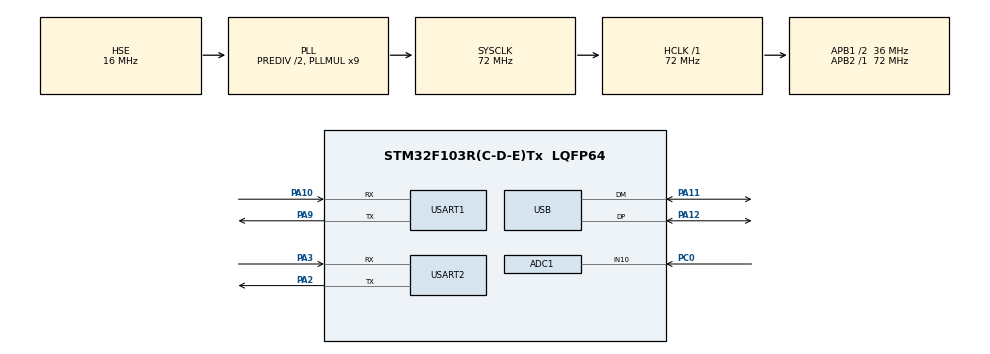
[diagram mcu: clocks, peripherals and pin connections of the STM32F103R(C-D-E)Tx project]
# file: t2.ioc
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ADC1.Channel-0\#ChannelRegularConversion=ADC_CHANNEL_10
ADC1.ContinuousConvMode=DISABLE
ADC1.DataAlign=ADC_DATAALIGN_RIGHT
ADC1.DiscontinuousConvMode=DISABLE
ADC1.EnableAnalogWatchDog=false
ADC1.EnableRegularConversion=ENABLE
ADC1.ExternalTrigConv=ADC_SOFTWARE_START
ADC1.InjNumberOfConversion=0
ADC1.NbrOfConversion=1
ADC1.NbrOfConversionFlag=1
ADC1.Rank-0\#ChannelRegularConversion=1
ADC1.SamplingTime-0\#ChannelRegularConversion=ADC_SAMPLETIME_1CYCLE_5
ADC1.ScanConvMode=ADC_SCAN_DISABLE
ADC1.master=1
Dma.ADC1.0.Direction=DMA_PERIPH_TO_MEMORY
Dma.ADC1.0.Instance=DMA1_Channel1
Dma.ADC1.0.MemDataAlignment=DMA_MDATAALIGN_HALFWORD
Dma.ADC1.0.MemInc=DMA_MINC_ENABLE
Dma.ADC1.0.Mode=DMA_NORMAL
Dma.ADC1.0.PeriphDataAlignment=DMA_PDATAALIGN_HALFWORD
Dma.ADC1.0.PeriphInc=DMA_PINC_DISABLE
Dma.ADC1.0.Priority=DMA_PRIORITY_LOW
Dma.Request0=ADC1
Dma.Request1=USART2_RX
Dma.Request2=USART2_TX
Dma.Request3=USART1_RX
Dma.Request4=USART1_TX
Dma.USART1_RX.3.Direction=DMA_PERIPH_TO_MEMORY
Dma.USART1_RX.3.Instance=DMA1_Channel5
Dma.USART1_RX.3.MemDataAlignment=DMA_MDATAALIGN_BYTE
Dma.USART1_RX.3.MemInc=DMA_MINC_ENABLE
Dma.USART1_RX.3.Mode=DMA_NORMAL
Dma.USART1_RX.3.PeriphDataAlignment=DMA_PDATAALIGN_BYTE
Dma.USART1_RX.3.PeriphInc=DMA_PINC_DISABLE
Dma.USART1_RX.3.Priority=DMA_PRIORITY_LOW
Dma.USART1_TX.4.Direction=DMA_MEMORY_TO_PERIPH
Dma.USART1_TX.4.Instance=DMA1_Channel4
Dma.USART1_TX.4.MemDataAlignment=DMA_MDATAALIGN_BYTE
Dma.USART1_TX.4.MemInc=DMA_MINC_ENABLE
Dma.USART1_TX.4.Mode=DMA_NORMAL
Dma.USART1_TX.4.PeriphDataAlignment=DMA_PDATAALIGN_BYTE
Dma.USART1_TX.4.PeriphInc=DMA_PINC_DISABLE
Dma.USART1_TX.4.Priority=DMA_PRIORITY_LOW
Dma.USART2_RX.1.Direction=DMA_PERIPH_TO_MEMORY
Dma.USART2_RX.1.Instance=DMA1_Channel6
Dma.USART2_RX.1.MemDataAlignment=DMA_MDATAALIGN_BYTE
Dma.USART2_RX.1.MemInc=DMA_MINC_ENABLE
Dma.USART2_RX.1.Mode=DMA_NORMAL
Dma.USART2_RX.1.PeriphDataAlignment=DMA_PDATAALIGN_BYTE
Dma.USART2_RX.1.PeriphInc=DMA_PINC_DISABLE
Dma.USART2_RX.1.Priority=DMA_PRIORITY_LOW
Dma.USART2_TX.2.Direction=DMA_MEMORY_TO_PERIPH
Dma.USART2_TX.2.Instance=DMA1_Channel7
Dma.USART2_TX.2.MemDataAlignment=DMA_MDATAALIGN_BYTE
Dma.USART2_TX.2.MemInc=DMA_MINC_ENABLE
Dma.USART2_TX.2.Mode=DMA_NORMAL
Dma.USART2_TX.2.PeriphDataAlignment=DMA_PDATAALIGN_BYTE
Dma.USART2_TX.2.PeriphInc=DMA_PINC_DISABLE
Dma.USART2_TX.2.Priority=DMA_PRIORITY_LOW
Mcu.Family=STM32F1
Mcu.Name=STM32F103R(C-D-E)Tx
Mcu.Package=LQFP64
NVIC.ADC1_2_IRQn=true\:0\:0\:false\:false\:true\:true
NVIC.DMA1_Channel1_IRQn=true\:0\:0\:false\:false\:true\:false
NVIC.DMA1_Channel4_IRQn=true\:0\:0\:false\:false\:true\:false
NVIC.DMA1_Channel5_IRQn=true\:0\:0\:false\:false\:true\:false
NVIC.DMA1_Channel6_IRQn=true\:0\:0\:false\:false\:true\:false
NVIC.DMA1_Channel7_IRQn=true\:0\:0\:false\:false\:true\:false
NVIC.PriorityGroup=NVIC_PRIORITYGROUP_4
NVIC.TIM1_UP_IRQn=true\:0\:0\:false\:false\:true\:true
NVIC.USART1_IRQn=true\:0\:0\:false\:false\:true\:true
NVIC.USART2_IRQn=true\:0\:0\:false\:false\:true\:true
NVIC.USB_LP_CAN1_RX0_IRQn=true\:0\:0\:false\:false\:true\:false
PA10.Mode=Asynchronous
PA10.Signal=USART1_RX
PA11.Mode=Device
PA11.Signal=USB_DM
PA12.Mode=Device
PA12.Signal=USB_DP
PA2.Mode=Asynchronous
PA2.Signal=USART2_TX
PA3.Mode=Asynchronous
PA3.Signal=USART2_RX
PA9.Mode=Asynchronous
PA9.Signal=USART1_TX
PC0.Signal=ADCx_IN10
PD0-OSC_IN.Mode=HSE-External-Oscillator
PD0-OSC_IN.Signal=RCC_OSC_IN
PD1-OSC_OUT.Mode=HSE-External-Oscillator
PD1-OSC_OUT.Signal=RCC_OSC_OUT
ProjectManager.HeapSize=0xc00
ProjectManager.StackSize=0xc00
ProjectManager.TargetToolchain=MDK-ARM V5
RCC.ADCPresc=RCC_ADCPCLK2_DIV6
RCC.AHBFreq_Value=72000000
RCC.APB1CLKDivider=RCC_HCLK_DIV2
RCC.APB1Freq_Value=36000000
RCC.APB1TimFreq_Value=72000000
RCC.APB2Freq_Value=72000000
RCC.APB2TimFreq_Value=72000000
RCC.HCLKFreq_Value=72000000
RCC.HSEDivPLL=RCC_HSE_PREDIV_DIV2
RCC.HSE_VALUE=16000000
RCC.PLLMUL=RCC_PLL_MUL9
RCC.SYSCLKFreq_VALUE=72000000
RCC.SYSCLKSource=RCC_SYSCLKSOURCE_PLLCLK
RCC.USBFreq_Value=48000000
RCC.USBPrescaler=RCC_USBCLKSOURCE_PLL_DIV1_5
SH.ADCx_IN10.0=ADC1_IN10,IN10
TIM1.Period=10
TIM1.Prescaler=7199
USART1.VirtualMode=VM_ASYNC
USART2.VirtualMode=VM_ASYNC
USB_DEVICE.CLASS_NAME_FS=CDC
USB_DEVICE.USBD_MAX_NUM_INTERFACES=4
USB_DEVICE.VirtualMode=Cdc
USB_DEVICE.VirtualModeFS=Cdc_FS
VP_SYS_VS_ND.Mode=No_Debug
VP_TIM1_VS_ClockSourceINT.Mode=Internal
VP_USB_DEVICE_VS_USB_DEVICE_CDC_FS.Mode=CDC_FS
board=t2

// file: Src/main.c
/**
  ******************************************************************************
  * File Name          : main.c
  * Description        : Main program body
  ******************************************************************************
  * This notice applies to any and all portions of this file
  * that are not between comment pairs USER CODE BEGIN and
  * USER CODE END. Other portions of this file, whether
  * inserted by the user or by software development tools
  * are owned by their respective copyright owners.
  *
  * Copyright (c) 2017 STMicroelectronics International N.V.
  * All rights reserved.
  *
  * Redistribution and use in source and binary forms, with or without
  * modification, are permitted, provided that the following conditions are met:
  *
  * 1. Redistribution of source code must retain the above copyright notice,
  *    this list of conditions and the following disclaimer.
  * 2. Redistributions in binary form must reproduce the above copyright notice,
  *    this list of conditions and the following disclaimer in the documentation
  *    and/or other materials provided with the distribution.
  * 3. Neither the name of STMicroelectronics nor the names of other
  *    contributors to this software may be used to endorse or promote products
  *    derived from this software without specific written permission.
  * 4. This software, including modifications and/or derivative works of this
  *    software, must execute solely and exclusively on microcontroller or
  *    microprocessor devices manufactured by or for STMicroelectronics.
  * 5. Redistribution and use of this software other than as permitted under
  *    this license is void and will automatically terminate your rights under
  *    this license.
  *
  * THIS SOFTWARE IS PROVIDED BY STMICROELECTRONICS AND CONTRIBUTORS "AS IS"
  * AND ANY EXPRESS, IMPLIED OR STATUTORY WARRANTIES, INCLUDING, BUT NOT
  * LIMITED TO, THE IMPLIED WARRANTIES OF MERCHANTABILITY, FITNESS FOR A
  * PARTICULAR PURPOSE AND NON-INFRINGEMENT OF THIRD PARTY INTELLECTUAL PROPERTY
  * RIGHTS ARE DISCLAIMED TO THE FULLEST EXTENT PERMITTED BY LAW. IN NO EVENT
  * SHALL STMICROELECTRONICS OR CONTRIBUTORS BE LIABLE FOR ANY DIRECT, INDIRECT,
  * INCIDENTAL, SPECIAL, EXEMPLARY, OR CONSEQUENTIAL DAMAGES (INCLUDING, BUT NOT
  * LIMITED TO, PROCUREMENT OF SUBSTITUTE GOODS OR SERVICES; LOSS OF USE, DATA,
  * OR PROFITS; OR BUSINESS INTERRUPTION) HOWEVER CAUSED AND ON ANY THEORY OF
  * LIABILITY, WHETHER IN CONTRACT, STRICT LIABILITY, OR TORT (INCLUDING
  * NEGLIGENCE OR OTHERWISE) ARISING IN ANY WAY OUT OF THE USE OF THIS SOFTWARE,
  * EVEN IF ADVISED OF THE POSSIBILITY OF SUCH DAMAGE.
  *
  ******************************************************************************
  */
#include "main.h"
#include "stm32f1xx_hal.h"
#include "usb_device.h"
#include "usbd_cdc_if.h"

ADC_HandleTypeDef hadc1;
DMA_HandleTypeDef hdma_adc1;

TIM_HandleTypeDef htim1;

UART_HandleTypeDef huart1;
UART_HandleTypeDef huart2;
DMA_HandleTypeDef hdma_usart1_rx;
DMA_HandleTypeDef hdma_usart1_tx;
DMA_HandleTypeDef hdma_usart2_rx;
DMA_HandleTypeDef hdma_usart2_tx;

/* USER CODE BEGIN PV */
/* Private variables ---------------------------------------------------------*/

/* USER CODE END PV */

void SystemClock_Config(void);
static void MX_GPIO_Init(void);
static void MX_DMA_Init(void);
static void MX_USART1_UART_Init(void);
static void MX_USART2_UART_Init(void);
static void MX_TIM1_Init(void);
static void MX_ADC1_Init(void);

/* USER CODE BEGIN PFP */
/* Private function prototypes -----------------------------------------------*/

/* USER CODE END PFP */

//预留flash的最后一页用作配置空间
typedef struct
{
    uint32_t   bootflag;
}user_cfg;

#define FLASH_ADDRESS_START  0x8000000

void readusercfg(uint8_t *pdata, uint32_t len)
{
  uint32_t i = 0;
  uint32_t flashsize = *((uint16_t *)FLASH_SIZE_DATA_REGISTER) * 1024;

  uint8_t *psrc = (uint8_t *)(FLASH_ADDRESS_START + flashsize - FLASH_PAGE_SIZE);

  for (i = 0; i < len; i++)
  {
    pdata[i] = *psrc++;
  }
}

void writeusercfg(uint8_t *pdata, uint32_t len)
{
  HAL_StatusTypeDef      status;
  FLASH_EraseInitTypeDef eraseinitstruct;
  uint32_t               page_error = 0;
  uint32_t               i = 0;

  uint32_t flashsize = *((uint16_t *)FLASH_SIZE_DATA_REGISTER) * 1024;
  uint32_t addr = FLASH_ADDRESS_START + flashsize - FLASH_PAGE_SIZE;

  HAL_FLASH_Unlock();

  eraseinitstruct.TypeErase = FLASH_TYPEERASE_PAGES;
  eraseinitstruct.PageAddress = addr;
  eraseinitstruct.NbPages = 1;
  status = HAL_FLASHEx_Erase(&eraseinitstruct, &page_error);
  if (status != HAL_OK)
  {
    printf("!! erase usercfg fail!! \r\n");
    HAL_FLASH_Lock();
    return;
  }

  for (i = 0; i < len; i += 4)
  {
    /* Device voltage range supposed to be [2.7V to 3.6V], the operation will
     * be done by byte */
    if (HAL_FLASH_Program (FLASH_TYPEPROGRAM_WORD, (uint32_t) (addr + i), *(uint32_t *) (pdata + i)) == HAL_OK)
    {
      /* Check the written value */
      if (*(uint32_t *) (pdata + i) != *(uint32_t *) (addr + i))
      {
        printf("!! check usercfg fail!! \r\n");
        HAL_FLASH_Lock();
        return;
      }
    }
    else
    {
      printf("!! write usercfg fail!! \r\n");
      HAL_FLASH_Lock();
      return;
    }
  }

  HAL_FLASH_Lock();
}

void set_boot_dfu()
{
    user_cfg usercfg;

    usercfg.bootflag = 0xFFFFFFFF;
    writeusercfg((uint8_t *)&usercfg, sizeof(usercfg));
}

int main(void)
{

  /* MCU Configuration----------------------------------------------------------*/

  /* Reset of all peripherals, Initializes the Flash interface and the Systick. */
  HAL_Init();

  /* Configure the system clock */
  SystemClock_Config();

  /* Initialize all configured peripherals */
  MX_GPIO_Init();
  MX_DMA_Init();
  MX_USART1_UART_Init();
  MX_USART2_UART_Init();
  MX_TIM1_Init();
  MX_ADC1_Init();
  MX_USB_DEVICE_Init();

  /* Infinite loop */
  /* USER CODE BEGIN WHILE */
  printf("[%s][%d]startup\r\n", __func__, __LINE__);

  while (1)
  {
  /* USER CODE END WHILE */

  }

}

/** System Clock Configuration
*/
void SystemClock_Config(void)
{

  RCC_OscInitTypeDef RCC_OscInitStruct;
  RCC_ClkInitTypeDef RCC_ClkInitStruct;
  RCC_PeriphCLKInitTypeDef PeriphClkInit;

    /**Initializes the CPU, AHB and APB busses clocks
    */
  RCC_OscInitStruct.OscillatorType = RCC_OSCILLATORTYPE_HSE;
  RCC_OscInitStruct.HSEState = RCC_HSE_ON;
  RCC_OscInitStruct.HSEPredivValue = RCC_HSE_PREDIV_DIV2;
  RCC_OscInitStruct.HSIState = RCC_HSI_ON;
  RCC_OscInitStruct.PLL.PLLState = RCC_PLL_ON;
  RCC_OscInitStruct.PLL.PLLSource = RCC_PLLSOURCE_HSE;
  RCC_OscInitStruct.PLL.PLLMUL = RCC_PLL_MUL9;
  if (HAL_RCC_OscConfig(&RCC_OscInitStruct) != HAL_OK)
  {
    _Error_Handler(__FILE__, __LINE__);
  }

    /**Initializes the CPU, AHB and APB busses clocks
    */
  RCC_ClkInitStruct.ClockType = RCC_CLOCKTYPE_HCLK|RCC_CLOCKTYPE_SYSCLK
                              |RCC_CLOCKTYPE_PCLK1|RCC_CLOCKTYPE_PCLK2;
  RCC_ClkInitStruct.SYSCLKSource = RCC_SYSCLKSOURCE_PLLCLK;
  RCC_ClkInitStruct.AHBCLKDivider = RCC_SYSCLK_DIV1;
  RCC_ClkInitStruct.APB1CLKDivider = RCC_HCLK_DIV2;
  RCC_ClkInitStruct.APB2CLKDivider = RCC_HCLK_DIV1;

  if (HAL_RCC_ClockConfig(&RCC_ClkInitStruct, FLASH_LATENCY_2) != HAL_OK)
  {
    _Error_Handler(__FILE__, __LINE__);
  }

  PeriphClkInit.PeriphClockSelection = RCC_PERIPHCLK_ADC|RCC_PERIPHCLK_USB;
  PeriphClkInit.AdcClockSelection = RCC_ADCPCLK2_DIV6;
  PeriphClkInit.UsbClockSelection = RCC_USBCLKSOURCE_PLL_DIV1_5;
  if (HAL_RCCEx_PeriphCLKConfig(&PeriphClkInit) != HAL_OK)
  {
    _Error_Handler(__FILE__, __LINE__);
  }

    /**Configure the Systick interrupt time
    */
  HAL_SYSTICK_Config(HAL_RCC_GetHCLKFreq()/1000);

    /**Configure the Systick
    */
  HAL_SYSTICK_CLKSourceConfig(SYSTICK_CLKSOURCE_HCLK);

  /* SysTick_IRQn interrupt configuration */
  HAL_NVIC_SetPriority(SysTick_IRQn, 0, 0);
}

/* ADC1 init function */
static void MX_ADC1_Init(void)
{

  ADC_ChannelConfTypeDef sConfig;

    /**Common config
    */
  hadc1.Instance = ADC1;
  hadc1.Init.ScanConvMode = ADC_SCAN_DISABLE;
  hadc1.Init.ContinuousConvMode = ENABLE;
  hadc1.Init.DiscontinuousConvMode = DISABLE;
  hadc1.Init.ExternalTrigConv = ADC_SOFTWARE_START;
  hadc1.Init.DataAlign = ADC_DATAALIGN_RIGHT;
  hadc1.Init.NbrOfConversion = 1;
  if (HAL_ADC_Init(&hadc1) != HAL_OK)
  {
    _Error_Handler(__FILE__, __LINE__);
  }

    /**Configure Regular Channel
    */
  sConfig.Channel = ADC_CHANNEL_TEMPSENSOR;
  sConfig.Rank = 1;
  sConfig.SamplingTime = ADC_SAMPLETIME_1CYCLE_5;
  if (HAL_ADC_ConfigChannel(&hadc1, &sConfig) != HAL_OK)
  {
    _Error_Handler(__FILE__, __LINE__);
  }

}

/* TIM1 init function */
static void MX_TIM1_Init(void)
{

  TIM_ClockConfigTypeDef sClockSourceConfig;
  TIM_MasterConfigTypeDef sMasterConfig;

  htim1.Instance = TIM1;
  htim1.Init.Prescaler = 7199;
  htim1.Init.CounterMode = TIM_COUNTERMODE_UP;
  htim1.Init.Period = 10;
  htim1.Init.ClockDivision = TIM_CLOCKDIVISION_DIV1;
  htim1.Init.RepetitionCounter = 0;
  htim1.Init.AutoReloadPreload = TIM_AUTORELOAD_PRELOAD_DISABLE;
  if (HAL_TIM_Base_Init(&htim1) != HAL_OK)
  {
    _Error_Handler(__FILE__, __LINE__);
  }

  sClockSourceConfig.ClockSource = TIM_CLOCKSOURCE_INTERNAL;
  if (HAL_TIM_ConfigClockSource(&htim1, &sClockSourceConfig) != HAL_OK)
  {
    _Error_Handler(__FILE__, __LINE__);
  }

  sMasterConfig.MasterOutputTrigger = TIM_TRGO_RESET;
  sMasterConfig.MasterSlaveMode = TIM_MASTERSLAVEMODE_DISABLE;
  if (HAL_TIMEx_MasterConfigSynchronization(&htim1, &sMasterConfig) != HAL_OK)
  {
    _Error_Handler(__FILE__, __LINE__);
  }

  if(HAL_TIM_Base_Start_IT(&htim1) != HAL_OK)
  {
    _Error_Handler(__FILE__, __LINE__);
  }
}

/* USART1 init function */
static void MX_USART1_UART_Init(void)
{

  huart1.Instance = USART1;
  huart1.Init.BaudRate = 115200;
  huart1.Init.WordLength = UART_WORDLENGTH_8B;
  huart1.Init.StopBits = UART_STOPBITS_1;
  huart1.Init.Parity = UART_PARITY_NONE;
  huart1.Init.Mode = UART_MODE_TX_RX;
  huart1.Init.HwFlowCtl = UART_HWCONTROL_NONE;
  huart1.Init.OverSampling = UART_OVERSAMPLING_16;
  if (HAL_UART_Init(&huart1) != HAL_OK)
  {
    _Error_Handler(__FILE__, __LINE__);
  }

}

/* USART2 init function */
static void MX_USART2_UART_Init(void)
{

  huart2.Instance = USART2;
  huart2.Init.BaudRate = 115200;
  huart2.Init.WordLength = UART_WORDLENGTH_8B;
  huart2.Init.StopBits = UART_STOPBITS_1;
  huart2.Init.Parity = UART_PARITY_NONE;
  huart2.Init.Mode = UART_MODE_TX_RX;
  huart2.Init.HwFlowCtl = UART_HWCONTROL_NONE;
  huart2.Init.OverSampling = UART_OVERSAMPLING_16;
  if (HAL_UART_Init(&huart2) != HAL_OK)
  {
    _Error_Handler(__FILE__, __LINE__);
  }

}

static void MX_DMA_Init(void)
{
  /* DMA controller clock enable */
  __HAL_RCC_DMA1_CLK_ENABLE();

  /* DMA interrupt init */
  /* DMA1_Channel1_IRQn interrupt configuration */
  HAL_NVIC_SetPriority(DMA1_Channel1_IRQn, 0, 0);
  HAL_NVIC_EnableIRQ(DMA1_Channel1_IRQn);
  /* DMA1_Channel4_IRQn interrupt configuration */
  HAL_NVIC_SetPriority(DMA1_Channel4_IRQn, 0, 0);
  HAL_NVIC_EnableIRQ(DMA1_Channel4_IRQn);
  /* DMA1_Channel5_IRQn interrupt configuration */
  HAL_NVIC_SetPriority(DMA1_Channel5_IRQn, 0, 0);
  HAL_NVIC_EnableIRQ(DMA1_Channel5_IRQn);
  /* DMA1_Channel6_IRQn interrupt configuration */
  HAL_NVIC_SetPriority(DMA1_Channel6_IRQn, 0, 0);
  HAL_NVIC_EnableIRQ(DMA1_Channel6_IRQn);
  /* DMA1_Channel7_IRQn interrupt configuration */
  HAL_NVIC_SetPriority(DMA1_Channel7_IRQn, 0, 0);
  HAL_NVIC_EnableIRQ(DMA1_Channel7_IRQn);

}

/** Configure pins as
        * Analog
        * Input
        * Output
        * EVENT_OUT
        * EXTI
*/
static void MX_GPIO_Init(void)
{
  /* GPIO Ports Clock Enable */
  __HAL_RCC_GPIOD_CLK_ENABLE();
  __HAL_RCC_GPIOB_CLK_ENABLE();
  __HAL_RCC_GPIOC_CLK_ENABLE();
  __HAL_RCC_GPIOA_CLK_ENABLE();

}

/* USER CODE BEGIN 4 */

/**
  * @brief  TIM period elapsed callback
  * @param  htim: TIM handle
  * @retval None
  */
void HAL_TIM_PeriodElapsedCallback(TIM_HandleTypeDef *htim)
{
    uint8_t  vcpidx;
    uint32_t len;
    uint32_t InPos;
    uint32_t OutPos;

    if (htim->Instance != htim1.Instance)
    {
        return;
    }

    for (vcpidx = 0; vcpidx < VCP_NUM; vcpidx++)
    {
        InPos = TxQueue[vcpidx].InPos;
        OutPos = TxQueue[vcpidx].OutPos;

        if (InPos == OutPos)
        {
            continue;
        }
        else if (InPos < OutPos)
        {
            len = USART_RX_QUEUE_LEN - OutPos;
        }
        else
        {
            len = InPos - OutPos;
        }

        if (len > CDC_DATA_FS_IN_PACKET_SIZE)
        {
            len = CDC_DATA_FS_IN_PACKET_SIZE;
        }

        CDC_Transmit_FS(vcpidx, &(TxQueue[vcpidx].Buffer[OutPos]), len);

        OutPos += len;
        if (OutPos >= USART_RX_QUEUE_LEN)
        {
            OutPos = 0;
        }

        TxQueue[vcpidx].OutPos = OutPos;
    }
}

/**
  * @brief  Rx Transfer completed callback
  * @param  UartHandle: UART handle
  * @note   This example shows a simple way to report end of DMA Rx transfer, and
  *         you can add your own implementation.
  * @retval None
  */
void HAL_UART_RxCpltCallback(UART_HandleTypeDef *UartHandle)
{
    uint8_t  vcpidx = 0;

    if (UartHandle->Instance == USART1)
        vcpidx = 0;
    else if (UartHandle->Instance == USART2)
        vcpidx = 1;
    else
        return;

    TxQueue[vcpidx].InPos++;
    if (TxQueue[vcpidx].InPos >= USART_RX_QUEUE_LEN)
    {
        TxQueue[vcpidx].InPos = 0;
    }

    if (TxQueue[vcpidx].InPos == TxQueue[vcpidx].OutPos)
    {
        TxQueue[vcpidx].OutPos++;
        if (TxQueue[vcpidx].OutPos >= USART_RX_QUEUE_LEN)
        {
            TxQueue[vcpidx].OutPos = 0;
        }
    }

    //CDC_Transmit_FS(vcpidx, &(TxQueue[vcpidx].Buffer[TxQueue[vcpidx].InPos]), 1);
    //CDC_Transmit_FS(vcpidx, (uint8_t *)&(UartHandle->RxXferSize), sizeof(uint16_t));

    if(HAL_UART_Receive_DMA(UartHandle, &(TxQueue[vcpidx].Buffer[TxQueue[vcpidx].InPos]), 1) != HAL_OK)
    {
      _Error_Handler(__FILE__, __LINE__);
    }
}

/**
  * @brief  Rx Transfer completed callback
  * @param  UartHandle: UART handle
  * @note   This example shows a simple way to report end of DMA Rx transfer, and
  *         you can add your own implementation.
  * @retval None
  */
void HAL_UART_ErrorCallback(UART_HandleTypeDef *UartHandle)
{
    uint8_t  vcpidx = 0;

    if (UartHandle->Instance == USART1)
        vcpidx = 0;
    else if (UartHandle->Instance == USART2)
        vcpidx = 1;
    else
        return;

    if (HAL_UART_Init(UartHandle) != HAL_OK)
    {
      _Error_Handler(__FILE__, __LINE__);
    }

    TxQueue[vcpidx].InPos = 0;
    TxQueue[vcpidx].OutPos = 0;

    if(HAL_UART_Receive_DMA(UartHandle, TxQueue[vcpidx].Buffer, 1) != HAL_OK)
    {
      _Error_Handler(__FILE__, __LINE__);
    }
}

/* USER CODE END 4 */

void _Error_Handler(char * file, int line)
{
  while(1)
  {
  }
}

int fputc(int ch, FILE *f)
{
  /* Place your implementation of fputc here */
  /* e.g. write a character to the USART1 and Loop until the end of transmission */
  HAL_UART_Transmit(&huart1, (uint8_t *)&ch, 1, 0xFFFF);
  //HAL_UART_Transmit_DMA(&huart1, (uint8_t *)&ch, 1);

  return ch;
}

/************************ (C) COPYRIGHT STMicroelectronics *****END OF FILE****/
